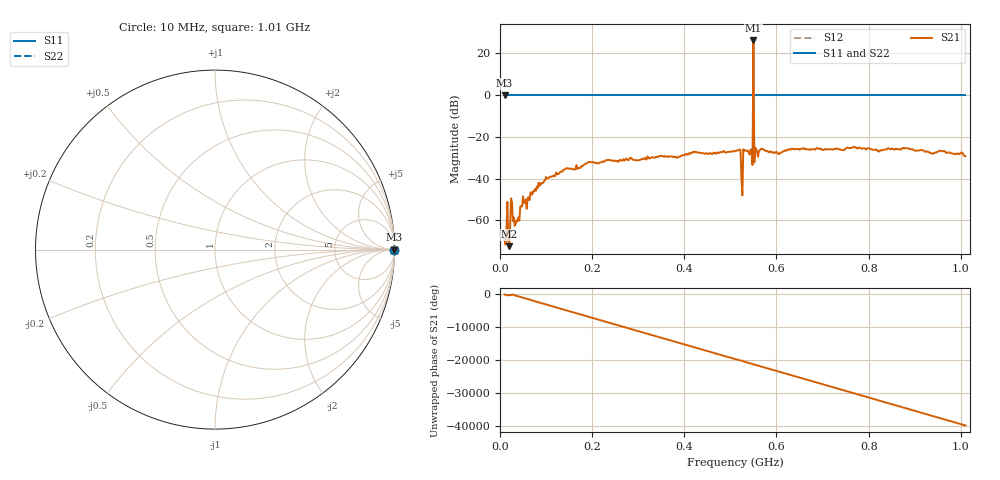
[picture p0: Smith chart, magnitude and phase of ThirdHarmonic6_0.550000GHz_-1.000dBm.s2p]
! 8/15/2025 5:24:49 PM
! C:\ANRITSUVNA\TEMP\TEMP.S2P
! CHANNEL.1
! TR.MEASUREMENT
! RAW.DATA
! RF.CORRECTION.OFF
! AVERAGING.OFF
! IF.BANDWIDTH: 5KHZ
! SWEEPTYPE:  FREQ.SWEEP(Linear)
! Reference Plane Port Info
! PORT:  PORT1  PORT2
! DISTANCE:  0  m  0  m
! TIME:  0  s  0  s
! PHASE.OFFSET:  0  deg.  0  deg.
! LOSS:  0  dB  0  dB
! REF.LOSS:  0  dB  0  dB
! REF.FREQ:  0  Hz  0  Hz
! Power Info
! POWER:  -20  dBm  -20  dBm
! EFF.POWER:  -20  dBm  -20  dBm
! SOURCE.ATTEN:  0  dB  0  dB
! TEST.ATTEN:  0  dB  0  dB
# GHZ S RI R 50.0
! FREQ.GHZ  S11RE  S11IM  S21RE  S21IM  S12RE  S12IM  S22RE  S22IM
!; PortSelection: Port_12
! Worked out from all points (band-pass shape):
!   501 points, 10 MHz to 1.01 GHz, reference 50 ohm
!   highest |S21| = 26.21 dB at 550 MHz (marker M1); lowest = -72.3 dB at 20 MHz (marker M2)
!   |S21| within 3 dB of the highest: 549.8994 MHz to 550.1029 MHz (203.5 kHz wide, 0.037 % of centre)
!   lowest |S11| = 0.0 dB at 10 MHz (marker M3)
!   |S11| at or under -10 dB: nowhere
!   |S22| runs from 0.0 to 0.0 dB; largest |S21 - S12| = 21
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0.01  1 0  -0.000228 -0.00028  1 0  1 0
0.02  1 0  0.000202 0.000134  1 0  1 0
0.026  1 0  -0.00172 -0.00219  1 0  1 0
0.032  1 0  0.000738 -7.37e-05  1 0  1 0
0.038  1 0  -0.000481 0.000823  1 0  1 0
0.048  1 0  0.00134 0.00168  1 0  1 0
0.1  1 0  -0.00554 0.00943  1 0  1 0
0.178  1 0  -0.0199 -0.000481  1 0  1 0
0.344  1 0  0.027 -0.0203  1 0  1 0
0.51  1 0  -0.022 0.0398  1 0  1 0
0.518  1 0  -0.0446 0.0192  1 0  1 0
0.522  1 0  0.0467 -0.00787  1 0  1 0
0.528  1 0  -0.0166 0.0477  1 0  1 0
0.532  1 0  0.0297 -0.0369  1 0  1 0
0.544  1 0  -0.0496 -0.00703  1 0  1 0
0.546  1 0  -0.00708 0.0493  1 0  1 0
0.55  1 0  -14.96 -13.93  1 0  1 0
0.554  1 0  -0.0465 0.0305  1 0  1 0
0.556  1 0  0.0283 0.0424  1 0  1 0
0.678  1 0  -0.0511 -0.00494  1 0  1 0
0.844  1 0  0.044 -0.0298  1 0  1 0
1.01  1 0  -0.00767 0.0336  1 0  1 0
